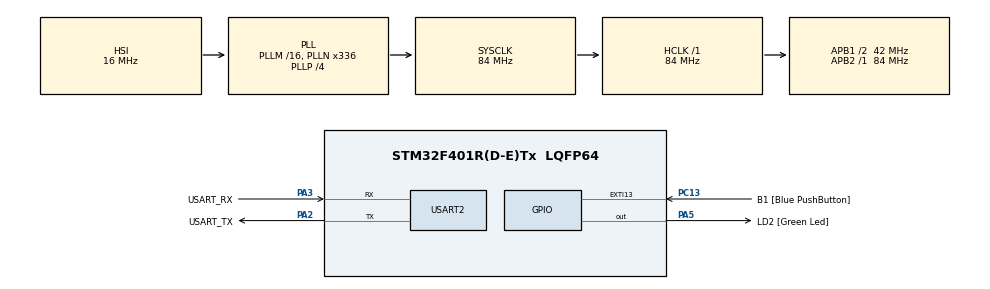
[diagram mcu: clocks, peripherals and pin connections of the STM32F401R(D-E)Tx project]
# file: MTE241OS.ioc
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Mcu.Family=STM32F4
Mcu.Name=STM32F401R(D-E)Tx
Mcu.Package=LQFP64
NVIC.PriorityGroup=NVIC_PRIORITYGROUP_0
PA13.GPIO_Label=TMS
PA13.Mode=Serial_Wire
PA13.Signal=SYS_JTMS-SWDIO
PA14.GPIO_Label=TCK
PA14.Mode=Serial_Wire
PA14.Signal=SYS_JTCK-SWCLK
PA2.GPIO_Label=USART_TX
PA2.GPIO_Mode=GPIO_MODE_AF_PP
PA2.GPIO_PuPd=GPIO_NOPULL
PA2.GPIO_Speed=GPIO_SPEED_FREQ_LOW
PA2.Mode=Asynchronous
PA2.Signal=USART2_TX
PA3.GPIO_Label=USART_RX
PA3.GPIO_Mode=GPIO_MODE_AF_PP
PA3.GPIO_PuPd=GPIO_NOPULL
PA3.GPIO_Speed=GPIO_SPEED_FREQ_LOW
PA3.Mode=Asynchronous
PA3.Signal=USART2_RX
PA5.GPIO_Label=LD2 [Green Led]
PA5.GPIO_Mode=GPIO_MODE_OUTPUT_PP
PA5.GPIO_PuPd=GPIO_NOPULL
PA5.GPIO_Speed=GPIO_SPEED_FREQ_LOW
PA5.Signal=GPIO_Output
PB3.GPIO_Label=SWO
PB3.Signal=SYS_JTDO-SWO
PC13-ANTI_TAMP.GPIO_Label=B1 [Blue PushButton]
PC13-ANTI_TAMP.GPIO_ModeDefaultEXTI=GPIO_MODE_IT_FALLING
PC13-ANTI_TAMP.GPIO_PuPd=GPIO_NOPULL
PC13-ANTI_TAMP.Signal=GPXTI13
PC14-OSC32_IN.Mode=LSE-External-Oscillator
PC14-OSC32_IN.Signal=RCC_OSC32_IN
PC15-OSC32_OUT.Mode=LSE-External-Oscillator
PC15-OSC32_OUT.Signal=RCC_OSC32_OUT
PH0\ -\ OSC_IN.Mode=HSE-External-Clock-Source
PH0\ -\ OSC_IN.Signal=RCC_OSC_IN
PH1\ -\ OSC_OUT.Mode=HSE-External-Clock-Source
PH1\ -\ OSC_OUT.Signal=RCC_OSC_OUT
ProjectManager.HeapSize=0x200
ProjectManager.StackSize=0x400
ProjectManager.TargetToolchain=STM32CubeIDE
RCC.48MHZClocksFreq_Value=48000000
RCC.AHBFreq_Value=84000000
RCC.APB1CLKDivider=RCC_HCLK_DIV2
RCC.APB1Freq_Value=42000000
RCC.APB1TimFreq_Value=84000000
RCC.APB2Freq_Value=84000000
RCC.APB2TimFreq_Value=84000000
RCC.CortexFreq_Value=84000000
RCC.HCLKFreq_Value=84000000
RCC.HSE_VALUE=8000000
RCC.HSI_VALUE=16000000
RCC.PLLN=336
RCC.PLLP=RCC_PLLP_DIV4
RCC.PLLQ=7
RCC.SYSCLKFreq_VALUE=84000000
RCC.SYSCLKSource=RCC_SYSCLKSOURCE_PLLCLK
RCC.VCOOutputFreq_Value=336000000
USART2.VirtualMode=VM_ASYNC
board=NUCLEO-F401RE

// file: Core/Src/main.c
 	 /* USER CODE BEGIN Header */
/**
  ******************************************************************************
  * @file           : main.c
  * @brief          : Main program body
  ******************************************************************************
  * @attention
  *
  * Copyright (c) 2023 STMicroelectronics.
  * All rights reserved.
  *
  * This software is licensed under terms that can be found in the LICENSE file
  * in the root directory of this software component.
  * If no LICENSE file comes with this software, it is provided AS-IS.
  *
  ******************************************************************************
  */
/* USER CODE END Header */
#include "main.h"
#include "kernel.h"
#include<stdio.h>

UART_HandleTypeDef huart2;

void SystemClock_Config(void);
static void MX_GPIO_Init(void);
static void MX_USART2_UART_Init(void);

/* USER CODE BEGIN PFP */
int __io_putchar(int ch)
{
	  HAL_UART_Transmit(&huart2,(uint8_t*)&ch,1,HAL_MAX_DELAY);
	  return ch;
}
/* USER CODE END PFP */

/* USER CODE BEGIN 0 */

void jumpAssembly(void* fcn){
	__asm("MOV PC, R0");
}

void print_continuously(){
	while(1){
		printf("Hello, PC!\r\n");
	}

}

void print_my_name(){
	__asm("SVC #19");
}

void test_func_1(){
	while(1){
		printf("Thread 1 with yield");
		osYield();
	}

}

void test_func_2(void* args){
	while(1){
		printf("Thread 2");

	}

}

void thread_function(void *args){
	int inputs = *(int*)args;

	while(1)
	{
		printf("%p\r\n", inputs);
		for(int i = 0; i < 23958; i++)
		{

		}
	}
}

typedef struct lab4{
	int x;
	char z;
}lab;

void thread_function_yield(void *args){

	lab* instance = (lab*)args;

	while(1)
	{
		printf("this is x %d and this is z %c\r\n", instance->x , instance->z);
//		for(int i = 0; i < 23958; i++)
//		{
//
//		}
		osYield();
	}
}

/* USER CODE END 0 */

int main(void)
{

  /* MCU Configuration--------------------------------------------------------*/

  /* Reset of all peripherals, Initializes the Flash interface and the Systick. */
  HAL_Init();

  /* Configure the system clock */
  SystemClock_Config();

  /* Initialize all configured peripherals */
  MX_GPIO_Init();
  MX_USART2_UART_Init();
  /* USER CODE BEGIN 2 */
  //char m = 'm';
  //HAL_UART_Transmit(&huart2,&m,1,HAL_MAX_DELAY);
  //printf("Hello, world!\r\n");
  /* USER CODE END 2 */

  /* Infinite loop */
  /* USER CODE BEGIN WHILE */

  //jumpAssembly((void*) print_continuously);
//  int* firstThreadAddress = stackAllocater();
//
//  printf(firstThreadAddress);
//

  	//void(*print_cont_pointer)(void) = &print_continuously;

  	int test1 = 0xBA5EBA11;
  	void * test1ptr = &test1;
  	int test2 = 0x12345678;
  	void * test2ptr = &test2;

  	osKernelInitialize();

  	lab lab4inst;

  	lab* lab4ptr = &lab4inst;

	lab4inst.x = 5;
  	lab4inst.z = 'z';
//  	osCreateThread((void*)print_continuously);
//  	printf("thread created\r\n");
  	osCreateThread((void*)thread_function,test2ptr);
  	osCreateThread((void*)thread_function_yield, (void*)lab4ptr);

  	osKernelStart();

  	printf("kernel start ran\r\n");
//  __asm("SVC #1");
  //__set_CONTROL(CHOOSE_PSP);
  while (1)

  {
    /* USER CODE END WHILE */

  }
}

void SystemClock_Config(void)
{
  RCC_OscInitTypeDef RCC_OscInitStruct = {0};
  RCC_ClkInitTypeDef RCC_ClkInitStruct = {0};

  /** Configure the main internal regulator output voltage
  */
  __HAL_RCC_PWR_CLK_ENABLE();
  __HAL_PWR_VOLTAGESCALING_CONFIG(PWR_REGULATOR_VOLTAGE_SCALE2);

  /** Initializes the RCC Oscillators according to the specified parameters
  * in the RCC_OscInitTypeDef structure.
  */
  RCC_OscInitStruct.OscillatorType = RCC_OSCILLATORTYPE_HSI;
  RCC_OscInitStruct.HSIState = RCC_HSI_ON;
  RCC_OscInitStruct.HSICalibrationValue = RCC_HSICALIBRATION_DEFAULT;
  RCC_OscInitStruct.PLL.PLLState = RCC_PLL_ON;
  RCC_OscInitStruct.PLL.PLLSource = RCC_PLLSOURCE_HSI;
  RCC_OscInitStruct.PLL.PLLM = 16;
  RCC_OscInitStruct.PLL.PLLN = 336;
  RCC_OscInitStruct.PLL.PLLP = RCC_PLLP_DIV4;
  RCC_OscInitStruct.PLL.PLLQ = 7;
  if (HAL_RCC_OscConfig(&RCC_OscInitStruct) != HAL_OK)
  {
    Error_Handler();
  }

  /** Initializes the CPU, AHB and APB buses clocks
  */
  RCC_ClkInitStruct.ClockType = RCC_CLOCKTYPE_HCLK|RCC_CLOCKTYPE_SYSCLK
                              |RCC_CLOCKTYPE_PCLK1|RCC_CLOCKTYPE_PCLK2;
  RCC_ClkInitStruct.SYSCLKSource = RCC_SYSCLKSOURCE_PLLCLK;
  RCC_ClkInitStruct.AHBCLKDivider = RCC_SYSCLK_DIV1;
  RCC_ClkInitStruct.APB1CLKDivider = RCC_HCLK_DIV2;
  RCC_ClkInitStruct.APB2CLKDivider = RCC_HCLK_DIV1;

  if (HAL_RCC_ClockConfig(&RCC_ClkInitStruct, FLASH_LATENCY_2) != HAL_OK)
  {
    Error_Handler();
  }
}

static void MX_USART2_UART_Init(void)
{

  huart2.Instance = USART2;
  huart2.Init.BaudRate = 115200;
  huart2.Init.WordLength = UART_WORDLENGTH_8B;
  huart2.Init.StopBits = UART_STOPBITS_1;
  huart2.Init.Parity = UART_PARITY_NONE;
  huart2.Init.Mode = UART_MODE_TX_RX;
  huart2.Init.HwFlowCtl = UART_HWCONTROL_NONE;
  huart2.Init.OverSampling = UART_OVERSAMPLING_16;
  if (HAL_UART_Init(&huart2) != HAL_OK)
  {
    Error_Handler();
  }

}

static void MX_GPIO_Init(void)
{
  GPIO_InitTypeDef GPIO_InitStruct = {0};

  /* GPIO Ports Clock Enable */
  __HAL_RCC_GPIOC_CLK_ENABLE();
  __HAL_RCC_GPIOH_CLK_ENABLE();
  __HAL_RCC_GPIOA_CLK_ENABLE();
  __HAL_RCC_GPIOB_CLK_ENABLE();

  /*Configure GPIO pin Output Level */
  HAL_GPIO_WritePin(LD2_GPIO_Port, LD2_Pin, GPIO_PIN_RESET);

  /*Configure GPIO pin : B1_Pin */
  GPIO_InitStruct.Pin = B1_Pin;
  GPIO_InitStruct.Mode = GPIO_MODE_IT_FALLING;
  GPIO_InitStruct.Pull = GPIO_NOPULL;
  HAL_GPIO_Init(B1_GPIO_Port, &GPIO_InitStruct);

  /*Configure GPIO pin : LD2_Pin */
  GPIO_InitStruct.Pin = LD2_Pin;
  GPIO_InitStruct.Mode = GPIO_MODE_OUTPUT_PP;
  GPIO_InitStruct.Pull = GPIO_NOPULL;
  GPIO_InitStruct.Speed = GPIO_SPEED_FREQ_LOW;
  HAL_GPIO_Init(LD2_GPIO_Port, &GPIO_InitStruct);

}

void Error_Handler(void)
{
  __disable_irq();
  while (1)
  {
  }
}
